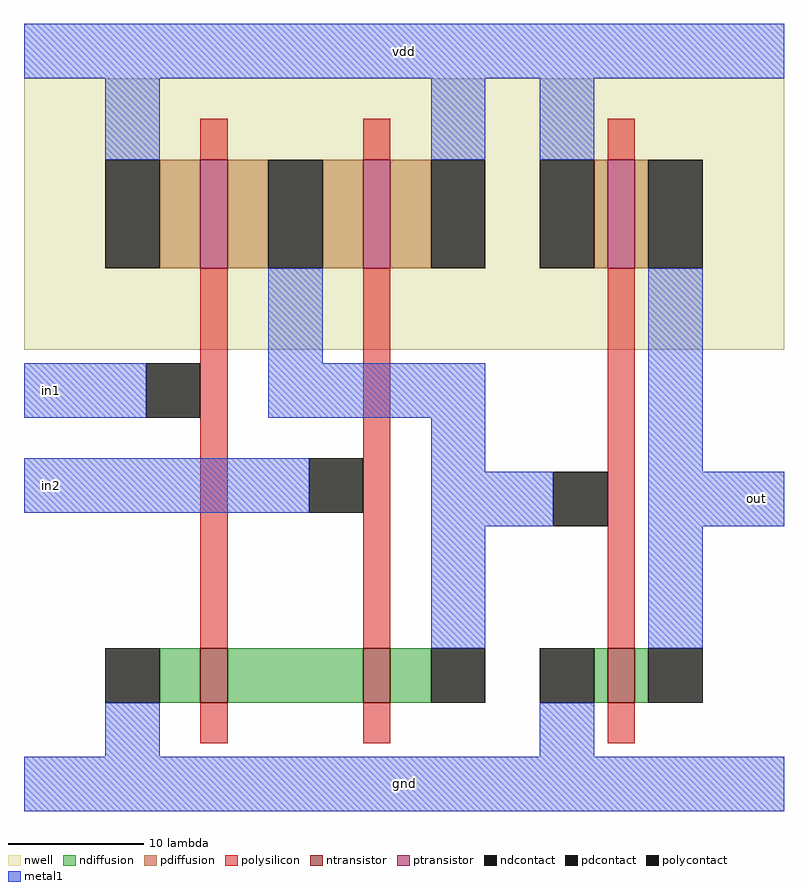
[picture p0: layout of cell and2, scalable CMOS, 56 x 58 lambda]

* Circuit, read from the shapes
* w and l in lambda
.subckt and2 gnd in1 in2 out vdd
M1 n1 in1 gnd VSUBS nfet w=4 l=2
M2 n2 in2 n1 VSUBS nfet w=4 l=2
M3 out n2 gnd VSUBS nfet w=4 l=2
M4 n2 in1 vdd n3 pfet w=8 l=2
M5 vdd in2 n2 n3 pfet w=8 l=2
M6 out n2 vdd n3 pfet w=8 l=2
.ends

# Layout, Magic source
magic
tech scmos
<< nwell >>
rect 0 0 56 20
<< ntransistor >>
rect 13 -26 15 -22
rect 25 -26 27 -22
rect 43 -26 45 -22
<< ptransistor >>
rect 13 6 15 14
rect 25 6 27 14
rect 43 6 45 14
<< ndiffusion >>
rect 10 -26 13 -22
rect 15 -26 25 -22
rect 27 -26 30 -22
rect 42 -26 43 -22
rect 45 -26 46 -22
<< pdiffusion >>
rect 10 6 13 14
rect 15 6 18 14
rect 22 6 25 14
rect 27 6 30 14
rect 42 6 43 14
rect 45 6 46 14
<< ndcontact >>
rect 6 -26 10 -22
rect 30 -26 34 -22
rect 38 -26 42 -22
rect 46 -26 50 -22
<< pdcontact >>
rect 6 6 10 14
rect 18 6 22 14
rect 30 6 34 14
rect 38 6 42 14
rect 46 6 50 14
<< polysilicon >>
rect 13 14 15 17
rect 25 14 27 17
rect 43 14 45 17
rect 13 -22 15 6
rect 25 -22 27 6
rect 43 -22 45 6
rect 13 -29 15 -26
rect 25 -29 27 -26
rect 43 -29 45 -26
<< polycontact >>
rect 9 -5 13 -1
rect 21 -12 25 -8
rect 39 -13 43 -9
<< metal1 >>
rect 0 20 56 24
rect 6 14 10 20
rect 30 14 34 20
rect 38 14 42 20
rect 18 -1 22 6
rect 0 -5 9 -1
rect 18 -5 34 -1
rect 0 -12 21 -8
rect 30 -9 34 -5
rect 46 -9 50 6
rect 30 -13 39 -9
rect 46 -13 56 -9
rect 30 -22 34 -13
rect 46 -22 50 -13
rect 6 -30 10 -26
rect 38 -30 42 -26
rect 0 -34 56 -30
<< labels >>
rlabel metal1 0 -5 4 -1 3 in1
rlabel metal1 0 -12 4 -8 3 in2
rlabel metal1 0 20 56 24 5 vdd
rlabel metal1 52 -13 56 -9 7 out
rlabel metal1 0 -34 56 -30 1 gnd
<< end >>
